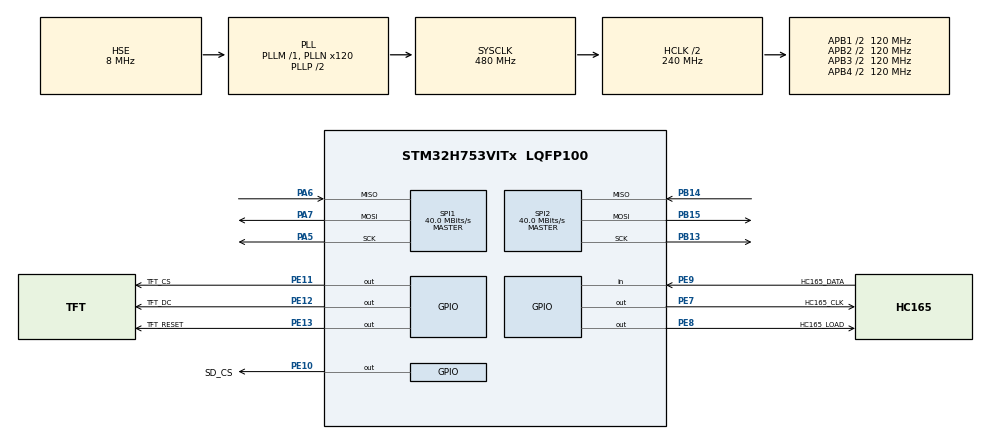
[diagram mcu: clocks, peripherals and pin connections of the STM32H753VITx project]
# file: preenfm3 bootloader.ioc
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DMA2D.ColorMode=DMA2D_OUTPUT_RGB565
DMA2D.InputAlphaForeground=0xffffff
DMA2D.InputColorModeBackground=DMA2D_INPUT_RGB565
DMA2D.InputColorModeForeground=DMA2D_INPUT_A8
DMA2D.Mode=DMA2D_M2M_BLEND
Dma.Request0=SPI1_TX
Dma.SPI1_TX.0.Direction=DMA_MEMORY_TO_PERIPH
Dma.SPI1_TX.0.EventEnable=DISABLE
Dma.SPI1_TX.0.FIFOMode=DMA_FIFOMODE_ENABLE
Dma.SPI1_TX.0.FIFOThreshold=DMA_FIFO_THRESHOLD_HALFFULL
Dma.SPI1_TX.0.Instance=DMA2_Stream0
Dma.SPI1_TX.0.MemBurst=DMA_MBURST_INC4
Dma.SPI1_TX.0.MemDataAlignment=DMA_MDATAALIGN_BYTE
Dma.SPI1_TX.0.MemInc=DMA_MINC_ENABLE
Dma.SPI1_TX.0.Mode=DMA_NORMAL
Dma.SPI1_TX.0.PeriphBurst=DMA_PBURST_SINGLE
Dma.SPI1_TX.0.PeriphDataAlignment=DMA_PDATAALIGN_BYTE
Dma.SPI1_TX.0.PeriphInc=DMA_PINC_DISABLE
Dma.SPI1_TX.0.Polarity=HAL_DMAMUX_REQ_GEN_RISING
Dma.SPI1_TX.0.Priority=DMA_PRIORITY_LOW
Dma.SPI1_TX.0.RequestNumber=1
Dma.SPI1_TX.0.SignalID=NONE
Dma.SPI1_TX.0.SyncEnable=DISABLE
Dma.SPI1_TX.0.SyncPolarity=HAL_DMAMUX_SYNC_NO_EVENT
Dma.SPI1_TX.0.SyncRequestNumber=1
Dma.SPI1_TX.0.SyncSignalID=NONE
Mcu.Family=STM32H7
Mcu.Name=STM32H753VITx
Mcu.Package=LQFP100
NVIC.DMA2D_IRQn=true\:8\:0\:true\:false\:true\:true\:true
NVIC.DMA2_Stream0_IRQn=true\:0\:0\:false\:false\:true\:false\:true
NVIC.PriorityGroup=NVIC_PRIORITYGROUP_4
NVIC.SPI1_IRQn=true\:8\:0\:true\:false\:true\:true\:true
PA13\ (JTMS/SWDIO).Mode=JTAG_5_pins
PA13\ (JTMS/SWDIO).Signal=DEBUG_JTMS-SWDIO
PA14\ (JTCK/SWCLK).Mode=JTAG_5_pins
PA14\ (JTCK/SWCLK).Signal=DEBUG_JTCK-SWCLK
PA15\ (JTDI).Mode=JTAG_5_pins
PA15\ (JTDI).Signal=DEBUG_JTDI
PA5.GPIO_Speed=GPIO_SPEED_FREQ_VERY_HIGH
PA5.Mode=Full_Duplex_Master
PA5.Signal=SPI1_SCK
PA6.GPIO_Speed=GPIO_SPEED_FREQ_VERY_HIGH
PA6.Mode=Full_Duplex_Master
PA6.Signal=SPI1_MISO
PA7.GPIO_Speed=GPIO_SPEED_FREQ_VERY_HIGH
PA7.Mode=Full_Duplex_Master
PA7.Signal=SPI1_MOSI
PB13.Mode=Full_Duplex_Master
PB13.Signal=SPI2_SCK
PB14.Mode=Full_Duplex_Master
PB14.Signal=SPI2_MISO
PB15.Mode=Full_Duplex_Master
PB15.Signal=SPI2_MOSI
PB3\ (JTDO/TRACESWO).Mode=JTAG_5_pins
PB3\ (JTDO/TRACESWO).Signal=DEBUG_JTDO-SWO
PB4\ (NJTRST).Mode=JTAG_5_pins
PB4\ (NJTRST).Signal=DEBUG_JTRST
PE10.GPIO_Label=SD_CS
PE10.GPIO_Speed=GPIO_SPEED_FREQ_VERY_HIGH
PE10.Signal=GPIO_Output
PE11.GPIO_Label=TFT_CS
PE11.Signal=GPIO_Output
PE12.GPIO_Label=TFT_DC
PE12.Signal=GPIO_Output
PE13.GPIO_Label=TFT_RESET
PE13.GPIO_Speed=GPIO_SPEED_FREQ_VERY_HIGH
PE13.Signal=GPIO_Output
PE7.GPIO_Label=HC165_CLK
PE7.GPIO_Speed=GPIO_SPEED_FREQ_VERY_HIGH
PE7.Signal=GPIO_Output
PE8.GPIO_Label=HC165_LOAD
PE8.GPIO_Speed=GPIO_SPEED_FREQ_VERY_HIGH
PE8.Signal=GPIO_Output
PE9.GPIO_Label=HC165_DATA
PE9.Signal=GPIO_Input
PH0-OSC_IN\ (PH0).Mode=HSE-External-Oscillator
PH0-OSC_IN\ (PH0).Signal=RCC_OSC_IN
PH1-OSC_OUT\ (PH1).Mode=HSE-External-Oscillator
PH1-OSC_OUT\ (PH1).Signal=RCC_OSC_OUT
ProjectManager.HeapSize=0x200
ProjectManager.StackSize=0x400
ProjectManager.TargetToolchain=STM32CubeIDE
RCC.ADCFreq_Value=80000000
RCC.APB1Freq_Value=120000000
RCC.APB2Freq_Value=120000000
RCC.APB3Freq_Value=120000000
RCC.APB4Freq_Value=120000000
RCC.CortexFreq_Value=480000000
RCC.D1PPRE=RCC_APB3_DIV2
RCC.D2PPRE1=RCC_APB1_DIV2
RCC.D2PPRE2=RCC_APB2_DIV2
RCC.D3PPRE=RCC_APB4_DIV2
RCC.DIVM1=1
RCC.DIVM2=1
RCC.DIVM3=1
RCC.DIVN1=120
RCC.DIVN2=40
RCC.DIVN3=46
RCC.DIVP2=4
RCC.DIVP3=3
RCC.HCLKFreq_Value=240000000
RCC.HPRE=RCC_HCLK_DIV2
RCC.HSE_VALUE=8000000
RCC.PLLSourceVirtual=RCC_PLLSOURCE_HSE
RCC.SPI123CLockSelection=RCC_SPI123CLKSOURCE_PLL2
RCC.SYSCLKFreq_VALUE=480000000
RCC.SYSCLKSource=RCC_SYSCLKSOURCE_PLLCLK
RCC.USBFreq_Value=480000000
SPI1.BaudRatePrescaler=SPI_BAUDRATEPRESCALER_2
SPI1.CalculateBaudRate=40.0 MBits/s
SPI1.DataSize=SPI_DATASIZE_8BIT
SPI1.Direction=SPI_DIRECTION_2LINES
SPI1.FifoThreshold=SPI_FIFO_THRESHOLD_08DATA
SPI1.Mode=SPI_MODE_MASTER
SPI1.VirtualType=VM_MASTER
SPI2.BaudRatePrescaler=SPI_BAUDRATEPRESCALER_2
SPI2.CalculateBaudRate=40.0 MBits/s
SPI2.Direction=SPI_DIRECTION_2LINES
SPI2.Mode=SPI_MODE_MASTER
SPI2.VirtualType=VM_MASTER
VP_DMA2D_VS_DMA2D.Mode=DMA2D_Activate
board=custom

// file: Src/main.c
/* USER CODE BEGIN Header */
/**
  ******************************************************************************
  * @file           : main.c
  * @brief          : Main program body
  ******************************************************************************
  * @attention
  *
  * <h2><center>&copy; Copyright (c) 2020 STMicroelectronics.
  * All rights reserved.</center></h2>
  *
  * This software component is licensed by ST under BSD 3-Clause license,
  * the "License"; You may not use this file except in compliance with the
  * License. You may obtain a copy of the License at:
  *                        opensource.org/licenses/BSD-3-Clause
  *
  ******************************************************************************
  */
/* USER CODE END Header */

#include "main.h"

/* USER CODE BEGIN Includes */
#include <stdbool.h>
#include "bootloader.h"
#include "preenfm3lib.h"
#include "flash_if.h"
/* USER CODE END Includes */

DMA2D_HandleTypeDef hdma2d;

SPI_HandleTypeDef hspi1;
SPI_HandleTypeDef hspi2;
DMA_HandleTypeDef hdma_spi1_tx;
DMA_HandleTypeDef hdma_spi2_rx;
DMA_HandleTypeDef hdma_spi2_tx;

void SystemClock_Config(void);
static void MX_DMA_Init(void);
static void MX_SPI1_Init(void);
static void MX_SPI2_Init(void);
static void MX_DMA2D_Init(void);

/* USER CODE BEGIN 0 */
bool dmaForSDAccess = true;
void bootJumpToApplication(uint32_t applicationAddress);
/* USER CODE END 0 */

int main(void)
{

  /* MCU Configuration--------------------------------------------------------*/

  /* Reset of all peripherals, Initializes the Flash interface and the Systick. */
  HAL_Init();

  /* Configure the system clock */
  SystemClock_Config();

  /* USER CODE BEGIN SysInit */
#ifdef MUST_NOT_BE_DEFINED_NOW
  /* USER CODE END SysInit */

  /* Initialize all configured peripherals */
  MX_GPIO_Init();
  MX_DMA_Init();
  MX_SPI1_Init();
  MX_SPI2_Init();
  MX_DMA2D_Init();
  /* USER CODE BEGIN 2 */
#endif
  preenfm3LibInitGpio();
  dependencyInjection();

  uint32_t buttonPressed = getButtonPressed();
  if (buttonPressed == 9) {
      MX_Deinit();
      bootJumpToApplication(APPLICATION2_ADDRESS);
      return;
  } else if (buttonPressed == 10) {
      MX_Deinit();
      bootJumpToApplication(APPLICATION3_ADDRESS);
      return;
  } else if (buttonPressed != 6) {
      MX_Deinit();
      bootJumpToApplication(APPLICATION_ADDRESS);
      return;
  }

  MX_DMA_Init();
  MX_SPI1_Init();
  MX_SPI2_Init();
  MX_DMA2D_Init();
  MX_FATFS_Init(dmaForSDAccess);

  bootloaderInit();

  /* USER CODE END 2 */

  /* Infinite loop */
  /* USER CODE BEGIN WHILE */
  while (1)
  {
    bootloaderLoop();
    /* USER CODE END WHILE */

  }
}

void SystemClock_Config(void)
{
  RCC_OscInitTypeDef RCC_OscInitStruct = {0};
  RCC_ClkInitTypeDef RCC_ClkInitStruct = {0};
  RCC_PeriphCLKInitTypeDef PeriphClkInitStruct = {0};

  /** Supply configuration update enable
  */
  HAL_PWREx_ConfigSupply(PWR_LDO_SUPPLY);
  /** Configure the main internal regulator output voltage
  */
  __HAL_PWR_VOLTAGESCALING_CONFIG(PWR_REGULATOR_VOLTAGE_SCALE0);

  while(!__HAL_PWR_GET_FLAG(PWR_FLAG_VOSRDY)) {}
  /** Macro to configure the PLL clock source
  */
  __HAL_RCC_PLL_PLLSOURCE_CONFIG(RCC_PLLSOURCE_HSE);
  /** Initializes the CPU, AHB and APB busses clocks
  */
  RCC_OscInitStruct.OscillatorType = RCC_OSCILLATORTYPE_HSI48|RCC_OSCILLATORTYPE_HSE;
  RCC_OscInitStruct.HSEState = RCC_HSE_ON;
  RCC_OscInitStruct.HSI48State = RCC_HSI48_ON;
  RCC_OscInitStruct.PLL.PLLState = RCC_PLL_ON;
  RCC_OscInitStruct.PLL.PLLSource = RCC_PLLSOURCE_HSE;
  RCC_OscInitStruct.PLL.PLLM = 1;
  RCC_OscInitStruct.PLL.PLLN = 120;
  RCC_OscInitStruct.PLL.PLLP = 2;
  RCC_OscInitStruct.PLL.PLLQ = 2;
  RCC_OscInitStruct.PLL.PLLR = 2;
  RCC_OscInitStruct.PLL.PLLRGE = RCC_PLL1VCIRANGE_3;
  RCC_OscInitStruct.PLL.PLLVCOSEL = RCC_PLL1VCOWIDE;
  RCC_OscInitStruct.PLL.PLLFRACN = 0;
  if (HAL_RCC_OscConfig(&RCC_OscInitStruct) != HAL_OK)
  {
    Error_Handler();
  }
  /** Initializes the CPU, AHB and APB busses clocks
  */
  RCC_ClkInitStruct.ClockType = RCC_CLOCKTYPE_HCLK|RCC_CLOCKTYPE_SYSCLK
                              |RCC_CLOCKTYPE_PCLK1|RCC_CLOCKTYPE_PCLK2
                              |RCC_CLOCKTYPE_D3PCLK1|RCC_CLOCKTYPE_D1PCLK1;
  RCC_ClkInitStruct.SYSCLKSource = RCC_SYSCLKSOURCE_PLLCLK;
  RCC_ClkInitStruct.SYSCLKDivider = RCC_SYSCLK_DIV1;
  RCC_ClkInitStruct.AHBCLKDivider = RCC_HCLK_DIV2;
  RCC_ClkInitStruct.APB3CLKDivider = RCC_APB3_DIV2;
  RCC_ClkInitStruct.APB1CLKDivider = RCC_APB1_DIV2;
  RCC_ClkInitStruct.APB2CLKDivider = RCC_APB2_DIV2;
  RCC_ClkInitStruct.APB4CLKDivider = RCC_APB4_DIV2;

  if (HAL_RCC_ClockConfig(&RCC_ClkInitStruct, FLASH_LATENCY_4) != HAL_OK)
  {
    Error_Handler();
  }
  PeriphClkInitStruct.PeriphClockSelection = RCC_PERIPHCLK_SPI1|RCC_PERIPHCLK_SPI2
	|RCC_PERIPHCLK_USB;
  PeriphClkInitStruct.PLL2.PLL2M = 1;
  PeriphClkInitStruct.PLL2.PLL2N = 40;
  PeriphClkInitStruct.PLL2.PLL2P = 4;
  PeriphClkInitStruct.PLL2.PLL2Q = 40;
  PeriphClkInitStruct.PLL2.PLL2R = 2;
  PeriphClkInitStruct.PLL2.PLL2RGE = RCC_PLL2VCIRANGE_3;
  PeriphClkInitStruct.PLL2.PLL2VCOSEL = RCC_PLL2VCOWIDE;
  PeriphClkInitStruct.PLL2.PLL2FRACN = 0;
  PeriphClkInitStruct.PLL3.PLL3M = 1;
  PeriphClkInitStruct.PLL3.PLL3N = 46;
  PeriphClkInitStruct.PLL3.PLL3P = 3;
  PeriphClkInitStruct.PLL3.PLL3Q = 2;
  PeriphClkInitStruct.PLL3.PLL3R = 2;
  PeriphClkInitStruct.PLL3.PLL3RGE = RCC_PLL3VCIRANGE_3;
  PeriphClkInitStruct.PLL3.PLL3VCOSEL = RCC_PLL3VCOWIDE;
  PeriphClkInitStruct.PLL3.PLL3FRACN = 0;
  PeriphClkInitStruct.Spi123ClockSelection = RCC_SPI123CLKSOURCE_PLL2;
  PeriphClkInitStruct.UsbClockSelection = RCC_USBCLKSOURCE_HSI48;
  if (HAL_RCCEx_PeriphCLKConfig(&PeriphClkInitStruct) != HAL_OK)
  {
    Error_Handler();
  }
  /** Enable USB Voltage detector
  */
  HAL_PWREx_EnableUSBVoltageDetector();
}

static void MX_DMA2D_Init(void)
{

  hdma2d.Instance = DMA2D;
  hdma2d.Init.Mode = DMA2D_M2M_BLEND;
  hdma2d.Init.ColorMode = DMA2D_OUTPUT_RGB565;
  hdma2d.Init.OutputOffset = 0;
  hdma2d.LayerCfg[1].InputOffset = 0;
  hdma2d.LayerCfg[1].InputColorMode = DMA2D_INPUT_A8;
  hdma2d.LayerCfg[1].AlphaMode = DMA2D_NO_MODIF_ALPHA;
  hdma2d.LayerCfg[1].InputAlpha = 0xffffff;
  hdma2d.LayerCfg[1].ChromaSubSampling = DMA2D_NO_CSS;
  hdma2d.LayerCfg[0].InputOffset = 0;
  hdma2d.LayerCfg[0].InputColorMode = DMA2D_INPUT_RGB565;
  hdma2d.LayerCfg[0].AlphaMode = DMA2D_NO_MODIF_ALPHA;
  hdma2d.LayerCfg[0].InputAlpha = 0;
  hdma2d.LayerCfg[0].AlphaInverted = DMA2D_REGULAR_ALPHA;
  hdma2d.LayerCfg[0].RedBlueSwap = DMA2D_RB_REGULAR;
  if (HAL_DMA2D_Init(&hdma2d) != HAL_OK)
  {
    Error_Handler();
  }
  if (HAL_DMA2D_ConfigLayer(&hdma2d, 0) != HAL_OK)
  {
    Error_Handler();
  }
  if (HAL_DMA2D_ConfigLayer(&hdma2d, 1) != HAL_OK)
  {
    Error_Handler();
  }

}

static void MX_SPI1_Init(void)
{

  /* SPI1 parameter configuration*/
  hspi1.Instance = SPI1;
  hspi1.Init.Mode = SPI_MODE_MASTER;
  hspi1.Init.Direction = SPI_DIRECTION_2LINES;
  hspi1.Init.DataSize = SPI_DATASIZE_8BIT;
  hspi1.Init.CLKPolarity = SPI_POLARITY_LOW;
  hspi1.Init.CLKPhase = SPI_PHASE_1EDGE;
  hspi1.Init.NSS = SPI_NSS_SOFT;
  hspi1.Init.BaudRatePrescaler = SPI_BAUDRATEPRESCALER_2;
  hspi1.Init.FirstBit = SPI_FIRSTBIT_MSB;
  hspi1.Init.TIMode = SPI_TIMODE_DISABLE;
  hspi1.Init.CRCCalculation = SPI_CRCCALCULATION_DISABLE;
  hspi1.Init.CRCPolynomial = 0x0;
  hspi1.Init.NSSPMode = SPI_NSS_PULSE_ENABLE;
  hspi1.Init.NSSPolarity = SPI_NSS_POLARITY_LOW;
  hspi1.Init.FifoThreshold = SPI_FIFO_THRESHOLD_08DATA;
  hspi1.Init.TxCRCInitializationPattern = SPI_CRC_INITIALIZATION_ALL_ZERO_PATTERN;
  hspi1.Init.RxCRCInitializationPattern = SPI_CRC_INITIALIZATION_ALL_ZERO_PATTERN;
  hspi1.Init.MasterSSIdleness = SPI_MASTER_SS_IDLENESS_00CYCLE;
  hspi1.Init.MasterInterDataIdleness = SPI_MASTER_INTERDATA_IDLENESS_00CYCLE;
  hspi1.Init.MasterReceiverAutoSusp = SPI_MASTER_RX_AUTOSUSP_DISABLE;
  hspi1.Init.MasterKeepIOState = SPI_MASTER_KEEP_IO_STATE_DISABLE;
  hspi1.Init.IOSwap = SPI_IO_SWAP_DISABLE;
  if (HAL_SPI_Init(&hspi1) != HAL_OK)
  {
    Error_Handler();
  }

}

static void MX_SPI2_Init(void)
{

  /* USER CODE BEGIN SPI2_Init 1 */
  // SPI2 initialization code for SD card is in preenfm3_lib/Src/stm32h7xx_nucleo_bus.c
#ifdef INITIALIZED_IN_preenfm3_lib_stm32h7xx_nucleo_bus
  /* USER CODE END SPI2_Init 1 */
  /* SPI2 parameter configuration*/
  hspi2.Instance = SPI2;
  hspi2.Init.Mode = SPI_MODE_MASTER;
  hspi2.Init.Direction = SPI_DIRECTION_2LINES;
  hspi2.Init.DataSize = SPI_DATASIZE_8BIT;
  hspi2.Init.CLKPolarity = SPI_POLARITY_LOW;
  hspi2.Init.CLKPhase = SPI_PHASE_2EDGE;
  hspi2.Init.NSS = SPI_NSS_SOFT;
  hspi2.Init.BaudRatePrescaler = SPI_BAUDRATEPRESCALER_4;
  hspi2.Init.FirstBit = SPI_FIRSTBIT_MSB;
  hspi2.Init.TIMode = SPI_TIMODE_DISABLE;
  hspi2.Init.CRCCalculation = SPI_CRCCALCULATION_DISABLE;
  hspi2.Init.CRCPolynomial = 0x0;
  hspi2.Init.NSSPMode = SPI_NSS_PULSE_DISABLE;
  hspi2.Init.NSSPolarity = SPI_NSS_POLARITY_LOW;
  hspi2.Init.FifoThreshold = SPI_FIFO_THRESHOLD_01DATA;
  hspi2.Init.TxCRCInitializationPattern = SPI_CRC_INITIALIZATION_ALL_ZERO_PATTERN;
  hspi2.Init.RxCRCInitializationPattern = SPI_CRC_INITIALIZATION_ALL_ZERO_PATTERN;
  hspi2.Init.MasterSSIdleness = SPI_MASTER_SS_IDLENESS_00CYCLE;
  hspi2.Init.MasterInterDataIdleness = SPI_MASTER_INTERDATA_IDLENESS_00CYCLE;
  hspi2.Init.MasterReceiverAutoSusp = SPI_MASTER_RX_AUTOSUSP_DISABLE;
  hspi2.Init.MasterKeepIOState = SPI_MASTER_KEEP_IO_STATE_DISABLE;
  hspi2.Init.IOSwap = SPI_IO_SWAP_DISABLE;
  if (HAL_SPI_Init(&hspi2) != HAL_OK)
  {
    Error_Handler();
  }
  /* USER CODE BEGIN SPI2_Init 2 */
#endif

  /* USER CODE END SPI2_Init 2 */

}

static void MX_DMA_Init(void)
{

  /* DMA controller clock enable */
  __HAL_RCC_DMA2_CLK_ENABLE();

  /* DMA interrupt init */
  /* SPI1 / TFT */
  HAL_NVIC_SetPriority(DMA2_Stream0_IRQn, 4, 0);
  HAL_NVIC_EnableIRQ(DMA2_Stream0_IRQn);

  // SPI2 / SD receive and transmit
  // In the bootloader the interupt must be higher priority than the USB interupt
  HAL_NVIC_SetPriority(DMA2_Stream1_IRQn, 0, 0);
  HAL_NVIC_EnableIRQ(DMA2_Stream1_IRQn);
  HAL_NVIC_SetPriority(DMA2_Stream2_IRQn, 0, 0);
  HAL_NVIC_EnableIRQ(DMA2_Stream2_IRQn);

}

/* USER CODE BEGIN 4 */

void MX_Deinit() {
    /* GPIO Ports Clock Enable */
    __HAL_RCC_GPIOH_CLK_DISABLE();
    __HAL_RCC_GPIOA_CLK_DISABLE();
    __HAL_RCC_GPIOE_CLK_DISABLE();
    __HAL_RCC_GPIOB_CLK_DISABLE();

    HAL_GPIO_DeInit(GPIOE, HC165_CLK_Pin);
    HAL_GPIO_DeInit(GPIOE, HC165_LOAD_Pin);
    HAL_GPIO_DeInit(GPIOE, SD_CS_Pin);
    HAL_GPIO_DeInit(GPIOE, TFT_CS_Pin);
    HAL_GPIO_DeInit(GPIOE, TFT_DC_Pin);
    HAL_GPIO_DeInit(GPIOE, TFT_RESET_Pin);
    HAL_GPIO_DeInit(GPIOE, HC165_DATA_Pin);
    HAL_GPIO_DeInit(GPIOE, TFT_CS_Pin);
    HAL_GPIO_DeInit(GPIOE, TFT_DC_Pin);

    HAL_RCC_DeInit();
    HAL_SuspendTick();
    // HAL_DeInit();

}

void bootloader_systick() {

    bootloaderTftTic();
}

/* USER CODE END 4 */

void Error_Handler(void)
{
}

/************************ (C) COPYRIGHT STMicroelectronics *****END OF FILE****/
